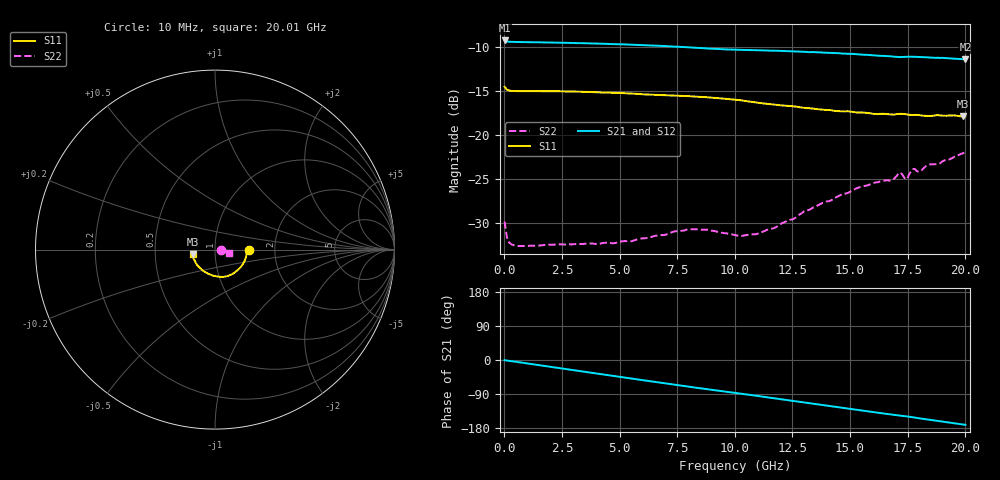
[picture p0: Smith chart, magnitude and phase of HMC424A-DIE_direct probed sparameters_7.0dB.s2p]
!s2p File: Measurements: S11, S21, S12, S22
# GHz S dB R 50.0
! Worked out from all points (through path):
!   201 points, 10 MHz to 20.01 GHz, reference 50 ohm
!   highest |S21| = -9.24 dB at 10 MHz (marker M1); lowest = -11.4 dB at 20.01 GHz (marker M2)
!   group delay of S21, straight-line fit = 23.6 ps
!   lowest |S11| = -17.9 dB at 19.91 GHz (marker M3), VSWR 1.29, Z = 38.9 - j2.15 ohm
!   |S11| at or under -10 dB: start of sweep to end of sweep
!   |S22| runs from -32.6 to -21.9 dB; largest |S21 - S12| = 0.002
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0.01  -14.51 -1.0  -9.24 -0.4  -9.24 -0.4  -29.85 -3.6
0.11  -14.85 -2.0  -9.36 -1.5  -9.36 -1.5  -31.64 -8.2
0.21  -14.94 -2.3  -9.39 -2.2  -9.39 -2.2  -32.25 -6.3
0.41  -14.99 -3.3  -9.41 -3.9  -9.41 -3.9  -32.54 -3.9
3.41  -15.08 -22.9  -9.55 -30.4  -9.55 -30.4  -32.40 -2.8
5.51  -15.28 -37.6  -9.72 -48.9  -9.72 -48.9  -32.09 -2.8
6.71  -15.45 -46.3  -9.85 -59.3  -9.85 -59.3  -31.41 -3.2
8.11  -15.60 -56.8  -10.04 -71.3  -10.05 -71.3  -30.72 -7.0
10.01  -15.98 -73.0  -10.28 -86.8  -10.29 -86.7  -31.39 -9.8
10.91  -16.29 -80.7  -10.35 -94.2  -10.36 -94.1  -31.30 -3.5
11.71  -16.53 -87.4  -10.40 -100.9  -10.42 -100.8  -30.58 1.1
13.41  -17.00 -102.0  -10.56 -115.3  -10.58 -115.2  -28.24 3.4
15.51  -17.44 -121.1  -10.86 -133.3  -10.84 -133.0  -25.85 -2.6
16.71  -17.64 -133.8  -11.04 -143.1  -11.03 -143.0  -25.20 -6.7
17.21  -17.58 -138.7  -11.13 -146.9  -11.09 -147.0  -24.30 -9.7
17.41  -17.63 -141.2  -11.10 -148.4  -11.11 -148.7  -25.06 -9.3
17.71  -17.72 -143.8  -11.08 -151.0  -11.12 -151.1  -23.88 -7.3
18.01  -17.73 -147.2  -11.13 -153.9  -11.16 -153.6  -24.21 -8.9
18.41  -17.84 -151.4  -11.17 -157.2  -11.19 -157.1  -23.35 -9.4
18.81  -17.74 -156.0  -11.21 -160.7  -11.23 -160.4  -23.31 -10.4
19.91  -17.88 -167.7  -11.35 -170.2  -11.36 -170.1  -22.08 -12.6
20.01  -17.88 -168.7  -11.38 -171.1  -11.36 -170.9  -21.88 -12.8
